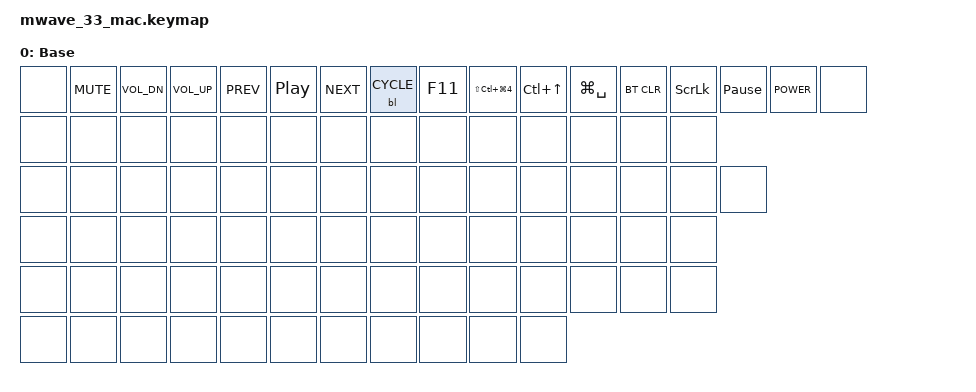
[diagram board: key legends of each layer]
#include <behaviors.dtsi>
#include <dt-bindings/zmk/backlight.h>
#include <dt-bindings/zmk/bt.h>
#include <dt-bindings/zmk/keys.h>
#include <dt-bindings/zmk/pointing.h>
#include <dt-bindings/zmk/outputs.h>
#include <dt-bindings/advertising_mode.h>
#include <behaviors/advertising_mode.dtsi>
#include "studio-macros.dtsi"

/ {
    #include "mwave_prim.dtsi"

    keymap {
        compatible = "zmk,keymap";

        default_layer {
            display-name = "Base";

            // -------------------------------------------------------------------------------------------------------
            // | ESC | F1  | F2  | F3  | F4  | F5  | F6  | | F7  | F8  | F9  | F10 | F11 | F12 |HOME| END |PSCN|  1  |
            // |GRAVE|  1  |  2  |  3  |  4  |  5  |  6  | |   7   |  8  |  9  |  0  |  -  |  =  |    BKSP     | DEL |
            // | TAB    |  Q  |  W  |  E  |  R  |   T    | |   Y  |  U  |  I  |  O  |  P  |  [  |  ]  |   \    |     |
            // | CAPS     |  A  |  S  |  D  |  F  |  G   | |  H    |  J  |  K  |  L  |  ;  |  '  |    ENTER    | PGUP|
            // |   SHIFT   |  Z  |  X  |  C  |  V  |  B  | |    N    |  M  |  ,  |  .  |  /  |   SHIFT   | UP  | PGDN|
            // |  CTL  |  WIN  |  ALT  |      SPACE      | |      SPACE        | ALT | MENU |RCTRL| LEFT| DOWN |RIGHT|
            // -------------------------------------------------------------------------------------------------------

            bindings = <
&none  &kp C_MUTE  &kp C_VOL_DN  &kp C_VOL_UP  &kp C_PREV  &kp C_PP  &kp C_NEXT  &bl BL_CYCLE  &kp F11  &kp LS(LC(LG(NUMBER_4)))  &kp LC(UP_ARROW)  &kp LG(SPACE)  &bt BT_CLR  &kp SCROLLLOCK  &kp PAUSE_BREAK  &kp K_POWER  &none
&none  &none       &none         &none         &none       &none     &none       &none         &none    &none                     &none             &none          &none       &none
&none  &none       &none         &none         &none       &none     &none       &none         &none    &none                     &none             &none          &none       &none           &none
&none  &none       &none         &none         &none       &none     &none       &none         &none    &none                     &none             &none          &none       &none
&none  &none       &none         &none         &none       &none     &none       &none         &none    &none                     &none             &none          &none       &none
&none  &none       &none         &none         &none       &none     &none       &none         &none    &none                     &none
            >;
        };
    };
};
